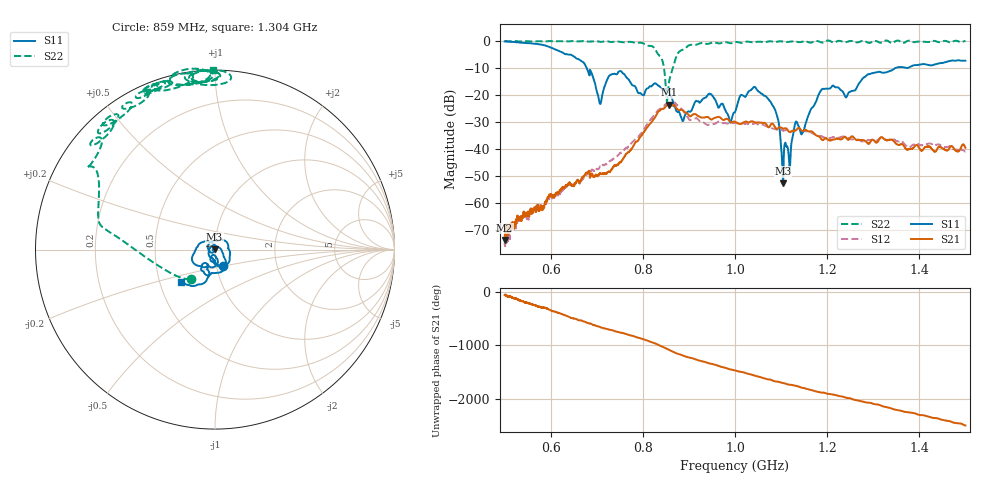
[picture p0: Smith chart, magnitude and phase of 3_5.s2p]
!Agilent Technologies,E8364B,US42250235,A.06.04.32
!Agilent E8364B: A.06.04.32
!Date: Thursday, October 01, 2020 16:05:58
!Correction: S11(Full 2 Port(1,2)) S21(Full 2 Port(1,2)) S12(Full 2 Port(1,2)) S22(Full 2 Port(1,2))
!S2P File: Measurements: S11, S21, S12, S22:
# Hz S  dB  R 50
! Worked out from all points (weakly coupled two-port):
!   2650 points, 500 MHz to 1.5 GHz, reference 50 ohm
!   highest |S21| = -23.61 dB at 856.4 MHz (marker M1); lowest = -73.5 dB at 500 MHz (marker M2)
!   lowest |S11| = -52.7 dB at 1.104 GHz (marker M3), VSWR 1.00, Z = 49.8 + j0.0941 ohm
!   |S11| at or under -10 dB: 678 MHz to 1.348 GHz (670.2 MHz wide, 66.2 % of centre); 1.372093 GHz to 1.37459 GHz (2.496 MHz wide, 0.182 % of centre)
!   |S22| runs from -22.5 to 0.2 dB; largest |S21 - S12| = 0.014
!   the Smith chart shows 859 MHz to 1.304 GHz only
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5e8  -0.21 -175.3  -73.54 -59.4  -75.46 -72.5  -0.04 143.2
5.909777e8  -1.86 125.5  -59.54 54.5  -59.48 46.6  -0.14 127.5
6.668554e8  -7.52 66.3  -51.22 -177.6  -51.33 -174.6  -0.12 124.5
7.068705e8  -23.19 70.9  -49.07 62.9  -46.48 71.4  -0.35 118.7
7.499056e8  -11.19 69.2  -44.93 -38.9  -41.61 -37.8  -0.32 112.1
7.974707e8  -19.77 38.1  -34.95 -158.0  -34.03 -158.1  -0.73 98.1
8.337108e8  -16.54 -0.6  -26.14 86.3  -25.49 80.4  -5.05 52.4
8.563609e8  -18.80 -56.5  -23.61 -6.0  -22.84 -13.2  -15.84 -115.5
8.82031e8  -27.74 -151.3  -25.49 -97.1  -24.79 -96.5  -3.60 167.1
9.450736e8  -19.54 -52.1  -28.68 96.6  -31.03 90.4  -0.94 128.7
9.888637e8  -30.06 -109.3  -29.70 -12.2  -30.39 -13.1  -0.84 128.6
1.000189e9  -26.25 -79.5  -29.88 -35.1  -30.32 -41.4  -0.47 119.9
1.039826e9  -17.23 -142.4  -29.89 -124.6  -30.65 -133.4  -0.51 113.9
1.068516e9  -20.76 158.3  -30.99 163.4  -31.59 155.5  -0.40 108.7
1.090789e9  -27.39 113.6  -32.62 118.5  -32.86 110.3  -0.35 109.6
1.104379e9  -52.68 156.0  -32.41 89.9  -33.20 83.9  -0.26 114.3
1.166667e9  -24.81 -35.1  -33.48 -45.4  -33.97 -54.5  -0.57 100.0
1.190827e9  -17.71 -78.9  -36.73 -89.1  -35.50 -100.0  -0.58 95.8
1.241789e9  -20.81 -118.0  -35.95 172.9  -35.72 162.1  -0.48 90.7
1.333522e9  -11.30 -148.7  -36.62 -10.9  -36.61 -11.5  -0.18 96.9
1.37165e9  -10.00 -170.6  -40.08 -93.8  -38.84 -95.2  -0.24 73.4
1.5e9  -7.34 138.1  -39.48 14.2  -40.91 26.5  0.07 71.2
